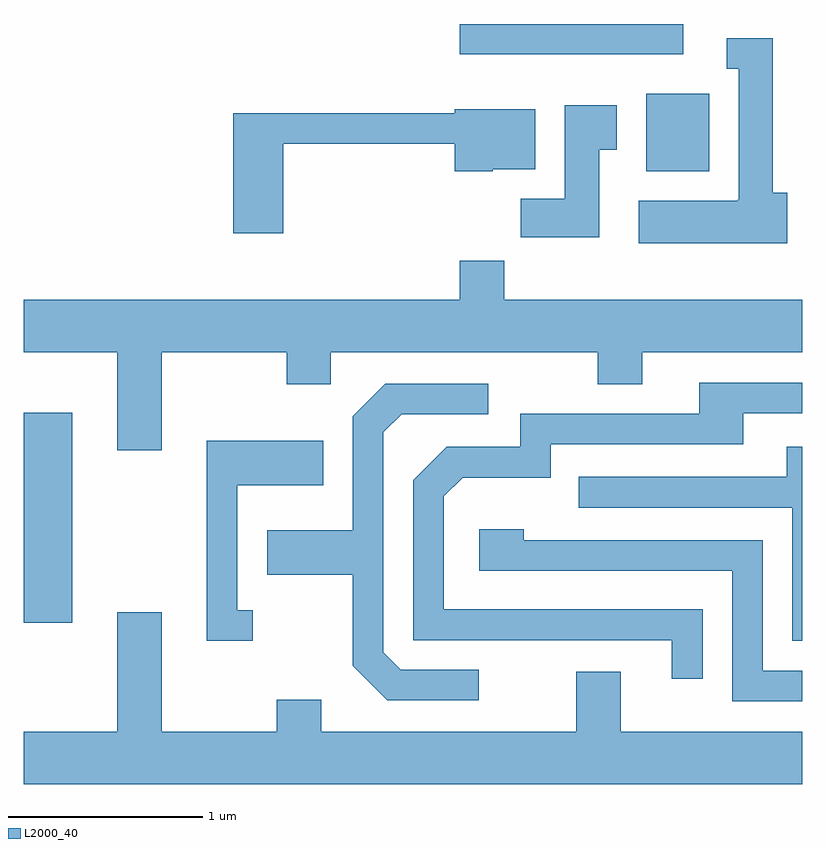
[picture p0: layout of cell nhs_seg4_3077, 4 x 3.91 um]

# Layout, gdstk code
import gdstk
lib = gdstk.Library(unit=1e-6, precision=1e-09)
def R(c, l, rs):  # rectangles x0, y0, x1, y1
    for r in rs: c.add(gdstk.rectangle(r[:2], r[2:], *l))
def P(c, l, *ps):  # polygons
    for p in ps: c.add(gdstk.Polygon(p, *l))
L2000_40 = (2000, 40)

nhs_seg4_3077 = lib.new_cell('nhs_seg4_3077')
R(nhs_seg4_3077, L2000_40, [(275.611,1288.906,275.859,1289.984), (278.811,1291.226,279.134,1291.624), (277.851,1291.826,278.999,1291.982)])
P(nhs_seg4_3077, L2000_40, [(279.534,1291.114),(279.459,1291.114),(279.459,1291.909),(279.223,1291.909),(279.223,1291.751),(279.286,1291.751),(279.286,1291.08),(279.28,1291.08),(279.28,1291.074),(278.771,1291.074),(278.771,1290.856),(279.534,1290.856)],
  [(278.569,1291.336),(278.659,1291.336),(278.659,1291.564),(278.391,1291.564),(278.391,1291.084),(278.166,1291.084),(278.166,1290.886),(278.569,1290.886)],
  [(276.944,1291.366),(277.826,1291.366),(277.826,1291.226),(278.02,1291.226),(278.02,1291.236),(278.239,1291.236),(278.239,1291.544),(277.826,1291.544),(277.826,1291.524),(276.686,1291.524),(276.686,1290.906),(276.944,1290.906)],
  [(276.319,1290.296),(276.961,1290.296),(276.961,1290.131),(277.189,1290.131),(277.189,1290.296),(278.561,1290.296),(278.561,1290.131),(278.789,1290.131),(278.789,1290.296),(279.611,1290.296),(279.611,1290.564),(278.079,1290.564),(278.079,1290.764),(277.851,1290.764),(277.851,1290.564),(275.611,1290.564),(275.611,1290.296),(276.091,1290.296),(276.091,1289.791),(276.319,1289.791)],
  [(279.099,1288.974),(277.769,1288.974),(277.769,1289.554),(277.867,1289.651),(278.319,1289.651),(278.319,1289.821),(279.309,1289.821),(279.309,1289.981),(279.611,1289.981),(279.611,1290.139),(279.081,1290.139),(279.081,1289.979),(278.161,1289.979),(278.161,1289.809),(277.784,1289.809),(277.611,1289.637),(277.611,1288.816),(278.941,1288.816),(278.941,1288.618),(279.099,1288.618)],
  [(277.948,1288.664),(277.547,1288.664),(277.459,1288.752),(277.459,1289.884),(277.552,1289.976),(277.998,1289.976),(277.998,1290.134),(277.469,1290.134),(277.301,1289.967),(277.301,1289.379),(276.861,1289.379),(276.861,1289.151),(277.301,1289.151),(277.301,1288.684),(277.479,1288.506),(277.948,1288.506)],
  [(276.788,1288.969),(276.709,1288.969),(276.709,1289.611),(277.149,1289.611),(277.149,1289.839),(276.551,1289.839),(276.551,1288.811),(276.788,1288.811)],
  [(279.611,1289.809),(279.531,1289.809),(279.531,1289.654),(278.463,1289.654),(278.463,1289.496),(279.561,1289.496),(279.561,1288.811),(279.611,1288.811)],
  [(279.611,1288.659),(279.409,1288.659),(279.409,1289.329),(278.179,1289.329),(278.179,1289.384),(277.951,1289.384),(277.951,1289.171),(279.251,1289.171),(279.251,1288.501),(279.611,1288.501)],
  [(279.611,1288.344),(278.679,1288.344),(278.679,1288.654),(278.451,1288.654),(278.451,1288.344),(277.139,1288.344),(277.139,1288.509),(276.911,1288.509),(276.911,1288.344),(276.319,1288.344),(276.319,1288.959),(276.091,1288.959),(276.091,1288.344),(275.611,1288.344),(275.611,1288.076),(279.611,1288.076)])

lib.write_gds('nhs_seg4_3077.gds')
